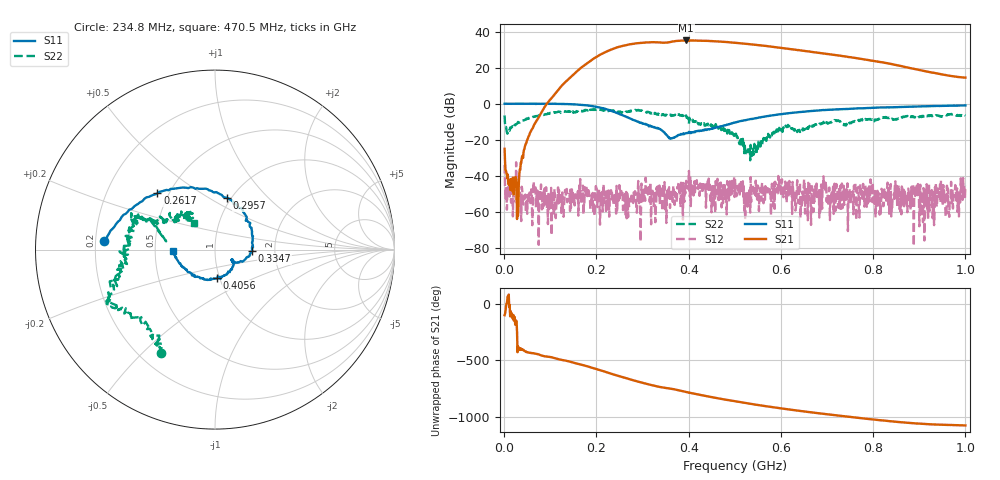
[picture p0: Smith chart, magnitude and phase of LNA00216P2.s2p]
! Created with skrf 1.9.0 (http://scikit-rf.org).
# Hz S RI R 50.0
!freq ReS11 ImS11 ReS21 ImS21 ReS12 ImS12 ReS22 ImS22
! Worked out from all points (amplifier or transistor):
!   1001 points, 1 MHz to 1 GHz, reference 50 ohm
!   highest |S21| = 35.1 dB at 394.6 MHz (marker M1)
!   |S21| within 3 dB of that: 257 MHz to 565.6 MHz (308.6 MHz wide, 75 % of centre)
!   unconditionally stable (mu >= 1): start of sweep to 104.3 MHz; 211.9 MHz to 290.6 MHz; 307.1 MHz to end of sweep (the widest 3 of 23)
!   at 166.8 MHz: K = 1.48, MAG = 31.4 dB, |S12| = -51.2 dB
!   at 500.5 MHz: K = 1.30, MAG = 34.5 dB, |S12| = -41.9 dB
!   at 1 GHz: K = 2.46, MAG = 23.1 dB, |S12| = -45.2 dB
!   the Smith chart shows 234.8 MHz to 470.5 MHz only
!   S11 on the Smith chart (normalised r, x): 234.8 MHz: 0.24, +0.04; 261.7 MHz: 0.43, +0.34; 295.7 MHz: 0.95, +0.60; 334.7 MHz: 1.52, -0.02; 405.6 MHz: 0.97, -0.31; 470.5 MHz: 0.62, -0.01
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1000000  0.9924 0.00639  -0.00731 -0.0556  -0.0195 0.00535  0.2904 0.3727
1.08892e8  0.5087 -0.8504  -0.8401 -1.567  0.00346 -0.00258  0.4303 -0.3692
1.67833e8  -0.2521 -0.8898  -10.17 -0.4212  0.00299 -0.000231  0.056 -0.6277
2.06794e8  -0.6651 -0.4192  -16.01 15.63  0.000622 0.00151  -0.1731 -0.6583
2.34766e8  -0.6166 0.0473  -5.313 32.45  -0.00223 -0.000958  -0.3035 -0.5746
2.61739e8  -0.3206 0.3143  17.06 37.54  -0.00289 -0.000343  -0.4161 -0.3793
2.95705e8  0.0657 0.2885  43.23 21.77  -0.000101 0.000109  -0.5958 -0.2393
3.16684e8  0.1966 0.1487  50.18 3.878  -0.00234 0.00631  -0.5224 -0.1216
3.34666e8  0.2073 -0.00633  48.87 -11.19  -0.00114 0.00397  -0.4935 -0.0527
3.7063e8  0.0992 -0.064  42.86 -33.37  0.00125 0.0033  -0.4637 0.1707
3.94606e8  0.0674 -0.1375  28.22 -49.14  -0.00494 0.00528  -0.4365 0.1822
4.05595e8  0.0117 -0.1557  19.56 -53.01  0.00366 0.000259  -0.3358 0.1544
4.36564e8  -0.1288 -0.1435  -4.856 -55.11  0.000177 0.00573  -0.1691 0.1844
4.7053e8  -0.2355 -0.0094  -27.01 -44.89  0.0044 -0.00055  -0.1147 0.1457
5.005e8  -0.2643 0.1473  -39.1 -29.78  0.00728 0.0035  -0.0867 0.0773
5.39461e8  -0.1814 0.3386  -42.85 -8.474  0.00495 0.000539  -0.0568 0.0168
5.85415e8  0.0101 0.4846  -35.79 11.08  0.00306 -0.00572  -0.1522 -0.0703
6.25375e8  0.1968 0.5253  -24.69 20.41  0.00371 -0.00567  -0.1625 -0.1081
6.67333e8  0.3931 0.4902  -12.83 23.87  0.0047 -0.00219  -0.2227 -0.0571
7.53247e8  0.6679 0.2818  4.305 18.67  -0.00114 -0.0036  -0.2936 0.0117
8.34166e8  0.7866 0.029  9.733 8.557  -0.00298 -0.00336  -0.4038 0.03
1e9  0.7368 -0.508  5.27 0.2535  0.00445 0.0032  -0.2799 0.3729
